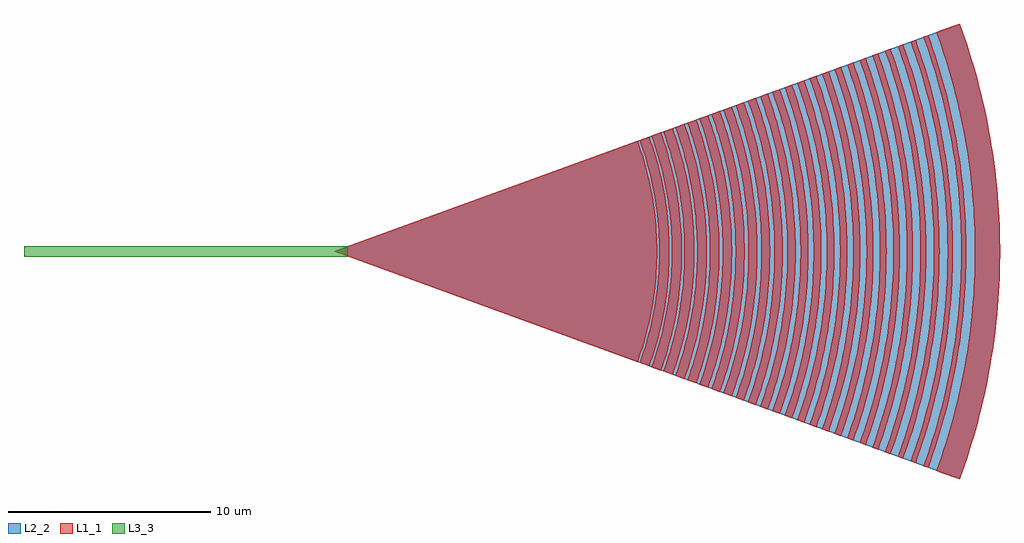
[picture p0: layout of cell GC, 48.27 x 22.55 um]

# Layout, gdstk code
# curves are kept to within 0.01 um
import gdstk
lib = gdstk.Library(unit=1e-6, precision=1e-09)
def R(c, l, rs):  # rectangles x0, y0, x1, y1
    for r in rs: c.add(gdstk.rectangle(r[:2], r[2:], *l))
def P(c, l, *ps):  # polygons
    for p in ps: c.add(gdstk.Polygon(p, *l))
L1_1 = (1, 1)
L2_2 = (2, 2)
L3_3 = (3, 3)

c_gc = lib.new_cell('GC')
P(c_gc, L1_1, [(3.313,0),(18.348,-5.472),(18.592,-4.751),(18.735,-4.264),(18.92,-3.525),(19.024,-3.028),(19.15,-2.277),(19.215,-1.773),(19.281,-1.015),(19.311,-0.254),(19.305,0.508),(19.281,1.015),(19.215,1.773),(19.112,2.528),(19.024,3.028),(18.92,3.525),(18.735,4.264),(18.592,4.751),(18.348,5.472)],
  [(18.924,-5.682),(19.093,-5.195),(19.317,-4.455),(19.507,-3.706),(19.662,-2.948),(19.781,-2.184),(19.865,-1.416),(19.901,-0.902),(19.925,-0.129),(19.921,0.387),(19.885,1.159),(19.813,1.929),(19.706,2.694),(19.563,3.454),(19.384,4.206),(19.171,4.949),(18.924,5.682),(18.445,5.508),(18.69,4.781),(18.834,4.291),(19.02,3.548),(19.171,2.796),(19.252,2.292),(19.343,1.531),(19.398,0.766),(19.416,0),(19.398,-0.766),(19.343,-1.531),(19.252,-2.292),(19.171,-2.796),(19.02,-3.548),(18.834,-4.291),(18.69,-4.781),(18.445,-5.508)],
  [(19.501,-5.892),(19.753,-5.149),(19.97,-4.395),(20.153,-3.633),(20.301,-2.863),(20.38,-2.346),(20.469,-1.567),(20.522,-0.784),(20.54,0),(20.522,0.784),(20.469,1.567),(20.38,2.346),(20.301,2.863),(20.153,3.633),(19.97,4.395),(19.753,5.149),(19.501,5.892),(19.032,5.721),(19.202,5.231),(19.428,4.486),(19.619,3.731),(19.775,2.969),(19.859,2.456),(19.956,1.684),(20.016,0.908),(20.04,0.13),(20.028,-0.649),(19.98,-1.426),(19.895,-2.199),(19.775,-2.969),(19.619,-3.731),(19.428,-4.486),(19.202,-5.231),(19.032,-5.721)],
  [(20.08,-6.103),(20.336,-5.35),(20.487,-4.842),(20.686,-4.072),(20.85,-3.294),(20.979,-2.51),(21.073,-1.72),(21.132,-0.927),(21.156,-0.133),(21.144,0.662),(21.097,1.456),(21.015,2.247),(20.897,3.033),(20.744,3.813),(20.557,4.586),(20.336,5.35),(20.08,6.103),(19.62,5.935),(19.874,5.187),(20.093,4.428),(20.277,3.66),(20.426,2.884),(20.539,2.102),(20.617,1.316),(20.659,0.527),(20.667,0),(20.659,-0.527),(20.617,-1.316),(20.539,-2.102),(20.426,-2.884),(20.277,-3.66),(20.093,-4.428),(19.874,-5.187),(19.62,-5.935)],
  [(20.662,-6.314),(20.926,-5.535),(21.155,-4.745),(21.349,-3.946),(21.458,-3.408),(21.592,-2.597),(21.689,-1.78),(21.75,-0.959),(21.775,-0.137),(21.762,0.685),(21.713,1.507),(21.628,2.325),(21.506,3.138),(21.349,3.946),(21.155,4.745),(20.926,5.535),(20.662,6.314),(20.211,6.15),(20.469,5.392),(20.692,4.622),(20.821,4.104),(20.987,3.32),(21.117,2.529),(21.212,1.734),(21.271,0.934),(21.295,0.134),(21.283,-0.668),(21.236,-1.467),(21.153,-2.264),(21.034,-3.057),(20.88,-3.843),(20.692,-4.622),(20.469,-5.392),(20.211,-6.15)],
  [(21.245,-6.527),(21.512,-5.738),(21.745,-4.939),(21.943,-4.13),(22.106,-3.314),(22.232,-2.491),(22.323,-1.663),(22.377,-0.832),(22.396,0),(22.377,0.832),(22.323,1.663),(22.232,2.491),(22.106,3.314),(21.943,4.13),(21.745,4.939),(21.512,5.738),(21.245,6.527),(20.804,6.366),(21.065,5.597),(21.292,4.818),(21.485,4.029),(21.644,3.232),(21.767,2.43),(21.856,1.622),(21.909,0.812),(21.927,0),(21.909,-0.812),(21.856,-1.622),(21.767,-2.43),(21.644,-3.232),(21.485,-4.029),(21.292,-4.818),(21.065,-5.597),(20.804,-6.366)],
  [(21.83,-6.74),(22.101,-5.942),(22.338,-5.134),(22.54,-4.316),(22.707,-3.491),(22.838,-2.659),(22.934,-1.822),(22.994,-0.982),(23.018,-0.14),(23.006,0.702),(22.958,1.543),(22.874,2.381),(22.707,3.491),(22.54,4.316),(22.338,5.134),(22.101,5.942),(21.83,6.74),(21.399,6.583),(21.669,5.788),(21.904,4.981),(22.104,4.166),(22.267,3.342),(22.395,2.512),(22.486,1.677),(22.541,0.84),(22.56,0),(22.541,-0.84),(22.486,-1.677),(22.395,-2.512),(22.267,-3.342),(22.104,-4.166),(21.904,-4.981),(21.669,-5.788),(21.399,-6.583)],
  [(22.417,-6.953),(22.691,-6.147),(22.932,-5.33),(23.138,-4.504),(23.309,-3.67),(23.483,-2.548),(23.572,-1.701),(23.625,-0.851),(23.643,0),(23.625,0.851),(23.572,1.701),(23.483,2.548),(23.309,3.67),(23.138,4.504),(22.932,5.33),(22.691,6.147),(22.417,6.953),(21.996,6.8),(22.269,5.995),(22.508,5.18),(22.712,4.355),(22.881,3.522),(23.013,2.683),(23.11,1.839),(23.17,0.991),(23.194,0.142),(23.182,-0.708),(23.11,-1.839),(23.013,-2.683),(22.881,-3.522),(22.712,-4.355),(22.508,-5.18),(22.269,-5.995),(21.996,-6.8)],
  [(23.006,-7.168),(23.284,-6.353),(23.528,-5.528),(23.738,-4.693),(23.964,-3.568),(24.093,-2.718),(24.187,-1.862),(24.246,-1.004),(24.269,-0.143),(24.258,0.717),(24.211,1.576),(24.093,2.718),(23.964,3.568),(23.738,4.693),(23.528,5.528),(23.284,6.353),(23.006,7.168),(22.595,7.018),(22.872,6.204),(23.115,5.38),(23.323,4.546),(23.545,3.422),(23.671,2.572),(23.76,1.717),(23.814,0.859),(23.832,0),(23.814,-0.859),(23.76,-1.717),(23.671,-2.572),(23.545,-3.422),(23.323,-4.546),(23.115,-5.38),(22.872,-6.204),(22.595,-7.018)],
  [(23.597,-7.383),(23.883,-6.544),(24.134,-5.694),(24.351,-4.834),(24.584,-3.676),(24.717,-2.799),(24.813,-1.918),(24.874,-1.034),(24.898,-0.148),(24.886,0.739),(24.838,1.624),(24.717,2.799),(24.584,3.676),(24.351,4.834),(24.134,5.694),(23.883,6.544),(23.597,7.383),(23.196,7.237),(23.476,6.414),(23.723,5.581),(23.935,4.739),(24.112,3.888),(24.254,3.031),(24.361,2.169),(24.448,1.013),(24.472,0.145),(24.46,-0.724),(24.412,-1.592),(24.294,-2.744),(24.163,-3.603),(23.998,-4.456),(23.723,-5.581),(23.476,-6.414),(23.196,-7.237)],
  [(24.19,-7.599),(24.479,-6.752),(24.734,-5.894),(24.954,-5.027),(25.193,-3.858),(25.368,-2.678),(25.458,-1.788),(25.512,-0.895),(25.53,0),(25.512,0.895),(25.458,1.788),(25.368,2.678),(25.193,3.858),(24.954,5.027),(24.734,5.894),(24.479,6.752),(24.19,7.599),(23.799,7.456),(24.083,6.625),(24.409,5.501),(24.613,4.647),(24.783,3.786),(24.918,2.918),(25.018,2.046),(25.097,0.878),(25.114,0),(25.097,-0.878),(25.018,-2.046),(24.918,-2.918),(24.783,-3.786),(24.613,-4.647),(24.409,-5.501),(24.083,-6.625),(23.799,-7.456)],
  [(24.785,-7.815),(25.167,-6.674),(25.414,-5.805),(25.626,-4.927),(25.803,-4.042),(25.985,-2.852),(26.08,-1.954),(26.139,-1.053),(26.163,-0.15),(26.151,0.752),(26.08,1.954),(25.985,2.852),(25.803,4.042),(25.626,4.927),(25.414,5.805),(25.167,6.674),(24.785,7.815),(24.405,7.677),(24.787,6.534),(25.032,5.664),(25.243,4.784),(25.417,3.898),(25.595,2.705),(25.686,1.806),(25.74,0.904),(25.758,0),(25.74,-0.904),(25.686,-1.806),(25.595,-2.705),(25.417,-3.898),(25.243,-4.784),(25.032,-5.664),(24.787,-6.534),(24.405,-7.677)],
  [(25.383,-8.033),(25.683,-7.154),(25.948,-6.265),(26.178,-5.366),(26.429,-4.154),(26.575,-3.238),(26.713,-2.008),(26.774,-1.082),(26.798,-0.155),(26.774,1.082),(26.713,2.008),(26.575,3.238),(26.429,4.154),(26.178,5.366),(25.948,6.265),(25.683,7.154),(25.383,8.033),(25.012,7.898),(25.308,7.034),(25.568,6.16),(25.862,4.979),(26.041,4.085),(26.185,3.184),(26.292,2.278),(26.365,1.368),(26.405,0.152),(26.393,-0.76),(26.345,-1.671),(26.225,-2.882),(26.093,-3.785),(25.862,-4.979),(25.647,-5.866),(25.308,-7.034),(25.012,-7.898)],
  [(25.982,-8.251),(26.285,-7.366),(26.635,-6.168),(26.856,-5.259),(27.043,-4.342),(27.193,-3.419),(27.338,-2.18),(27.419,-0.935),(27.437,0),(27.419,0.935),(27.338,2.18),(27.193,3.419),(27.043,4.342),(26.856,5.259),(26.635,6.168),(26.285,7.366),(25.982,8.251),(25.622,8.12),(26.012,6.956),(26.265,6.07),(26.483,5.176),(26.72,3.971),(26.894,2.756),(26.983,1.84),(27.036,0.921),(27.054,0),(27.036,-0.921),(26.983,-1.84),(26.894,-2.756),(26.72,-3.971),(26.483,-5.176),(26.265,-6.07),(26.012,-6.956),(25.622,-8.12)],
  [(26.583,-8.47),(26.889,-7.578),(27.243,-6.371),(27.536,-5.149),(27.714,-4.223),(27.857,-3.291),(27.965,-2.354),(28.052,-1.1),(28.076,-0.157),(28.064,0.786),(27.992,2.041),(27.897,2.979),(27.714,4.223),(27.536,5.149),(27.243,6.371),(26.889,7.578),(26.583,8.47),(26.234,8.343),(26.628,7.169),(26.884,6.276),(27.106,5.374),(27.348,4.159),(27.489,3.241),(27.595,2.319),(27.666,1.393),(27.705,0.155),(27.693,-0.774),(27.622,-2.01),(27.489,-3.241),(27.348,-4.159),(27.106,-5.374),(26.884,-6.276),(26.628,-7.169),(26.234,-8.343)],
  [(27.187,-8.689),(27.495,-7.791),(27.853,-6.576),(28.151,-5.344),(28.333,-4.412),(28.481,-3.473),(28.622,-2.214),(28.701,-0.95),(28.719,0),(28.701,0.95),(28.622,2.214),(28.481,3.473),(28.333,4.412),(28.151,5.344),(27.853,6.576),(27.495,7.791),(27.187,8.689),(26.849,8.566),(27.158,7.664),(27.516,6.444),(27.744,5.518),(27.936,4.584),(28.093,3.643),(28.246,2.381),(28.318,1.43),(28.359,0.159),(28.334,-1.112),(28.274,-2.064),(28.137,-3.328),(27.992,-4.271),(27.744,-5.518),(27.516,-6.444),(27.158,-7.664),(26.849,-8.566)],
  [(27.793,-8.91),(28.109,-7.988),(28.476,-6.742),(28.781,-5.48),(28.968,-4.524),(29.119,-3.561),(29.264,-2.27),(29.331,-1.299),(29.364,0),(29.331,1.299),(29.264,2.27),(29.119,3.561),(28.968,4.524),(28.781,5.48),(28.476,6.742),(28.109,7.988),(27.793,8.91),(27.465,8.791),(27.777,7.881),(28.139,6.652),(28.371,5.719),(28.625,4.463),(28.816,3.196),(28.917,2.24),(28.983,1.281),(29.015,0),(28.997,-0.961),(28.917,-2.24),(28.816,-3.196),(28.625,-4.463),(28.371,-5.719),(28.139,-6.652),(27.777,-7.881),(27.465,-8.791)],
  [(28.4,-9.131),(28.818,-7.892),(29.09,-6.949),(29.4,-5.679),(29.591,-4.716),(29.79,-3.424),(29.898,-2.449),(29.97,-1.471),(30.01,-0.163),(29.986,1.144),(29.926,2.123),(29.79,3.424),(29.591,4.716),(29.4,5.679),(29.09,6.949),(28.818,7.892),(28.4,9.131),(28.084,9.016),(28.399,8.1),(28.765,6.862),(29.071,5.607),(29.259,4.657),(29.413,3.701),(29.563,2.418),(29.65,1.13),(29.673,0.161),(29.65,-1.13),(29.563,-2.418),(29.413,-3.701),(29.259,-4.657),(29.071,-5.607),(28.765,-6.862),(28.399,-8.1),(28.084,-9.016)],
  [(29.011,-9.353),(29.332,-8.419),(29.707,-7.157),(29.948,-6.2),(30.215,-4.911),(30.42,-3.61),(30.563,-2.301),(30.642,-0.987),(30.66,0),(30.642,0.987),(30.563,2.301),(30.42,3.61),(30.215,4.911),(29.948,6.2),(29.707,7.157),(29.332,8.419),(29.011,9.353),(28.705,9.242),(29.028,8.303),(29.403,7.034),(29.717,5.748),(29.91,4.774),(30.112,3.466),(30.221,2.479),(30.294,1.489),(30.334,0.165),(30.31,-1.158),(30.221,-2.479),(30.112,-3.466),(29.91,-4.774),(29.717,-5.748),(29.403,-7.034),(29.028,-8.303),(28.705,-9.242)],
  [(29.623,-9.576),(29.952,-8.62),(30.336,-7.328),(30.657,-6.019),(30.915,-4.696),(31.109,-3.362),(31.212,-2.356),(31.279,-1.348),(31.311,0),(31.279,1.348),(31.212,2.356),(31.109,3.362),(30.915,4.696),(30.657,6.019),(30.336,7.328),(29.952,8.62),(29.623,9.576),(29.329,9.469),(29.754,8.206),(30.119,6.924),(30.421,5.626),(30.606,4.643),(30.756,3.655),(30.9,2.33),(30.98,1),(30.998,0),(30.98,-1),(30.9,-2.33),(30.756,-3.655),(30.606,-4.643),(30.421,-5.626),(30.119,-6.924),(29.754,-8.206),(29.329,-9.469)],
  [(30.238,-9.8),(30.671,-8.515),(30.956,-7.539),(31.282,-6.222),(31.545,-4.892),(31.745,-3.551),(31.853,-2.539),(31.925,-1.525),(31.965,-0.17),(31.941,1.186),(31.881,2.202),(31.745,3.551),(31.545,4.892),(31.282,6.222),(30.956,7.539),(30.671,8.515),(30.238,9.8),(29.955,9.697),(30.384,8.425),(30.666,7.459),(30.988,6.157),(31.189,5.171),(31.403,3.846),(31.553,2.513),(31.64,1.174),(31.664,0.168),(31.652,-0.839),(31.605,-1.844),(31.521,-2.847),(31.403,-3.846),(31.304,-4.51),(31.126,-5.5),(30.835,-6.81),(30.482,-8.105),(30.177,-9.064),(29.955,-9.697)],
  [(30.854,-10.024),(31.188,-9.057),(31.579,-7.75),(31.909,-6.427),(32.177,-5.089),(32.382,-3.741),(32.525,-2.385),(32.604,-1.023),(32.622,0),(32.604,1.023),(32.525,2.385),(32.382,3.741),(32.177,5.089),(31.909,6.427),(31.579,7.75),(31.188,9.057),(30.854,10.024),(30.583,9.925),(31.022,8.624),(31.219,7.966),(31.484,6.971),(31.782,5.63),(32.016,4.277),(32.15,3.255),(32.247,2.23),(32.308,1.202),(32.333,0.172),(32.321,-0.858),(32.272,-1.887),(32.187,-2.914),(32.016,-4.277),(31.782,-5.63),(31.484,-6.971),(31.219,-7.966),(31.022,-8.624),(30.583,-9.925)],
  [(31.474,-10.25),(31.92,-8.928),(32.214,-7.925),(32.552,-6.571),(32.826,-5.204),(33.036,-3.825),(33.182,-2.438),(33.249,-1.394),(33.281,0),(33.249,1.394),(33.182,2.438),(33.036,3.825),(32.826,5.204),(32.552,6.571),(32.214,7.925),(31.92,8.928),(31.474,10.25),(31.214,10.155),(31.443,9.503),(31.757,8.516),(32.123,7.183),(32.426,5.835),(32.666,4.474),(32.804,3.447),(32.906,2.416),(32.972,1.381),(33.005,0),(32.972,-1.381),(32.906,-2.416),(32.804,-3.447),(32.666,-4.474),(32.426,-5.835),(32.123,-7.183),(31.757,-8.516),(31.443,-9.503),(31.214,-10.155)],
  [(32.095,-10.476),(32.438,-9.482),(32.841,-8.139),(33.183,-6.779),(33.462,-5.405),(33.677,-4.02),(33.798,-2.975),(33.902,-1.577),(33.942,-0.175),(33.918,1.227),(33.83,2.626),(33.722,3.672),(33.522,5.06),(33.258,6.437),(32.932,7.8),(32.544,9.148),(32.095,10.476),(31.847,10.386),(32.293,9.069),(32.493,8.403),(32.764,7.397),(33.071,6.041),(33.317,4.673),(33.459,3.64),(33.567,2.603),(33.654,1.216),(33.678,0.174),(33.666,-0.869),(33.594,-2.257),(33.499,-3.295),(33.317,-4.673),(33.071,-6.041),(32.764,-7.397),(32.493,-8.403),(32.293,-9.069),(31.847,-10.386)],
  [(32.719,-10.703),(33.064,-9.704),(33.471,-8.354),(33.816,-6.988),(34.1,-5.607),(34.321,-4.216),(34.479,-2.815),(34.575,-1.409),(34.606,0),(34.575,1.409),(34.479,2.815),(34.321,4.216),(34.1,5.607),(33.816,6.988),(33.471,8.354),(33.064,9.704),(32.719,10.703),(32.483,10.617),(32.715,9.957),(33.034,8.959),(33.407,7.611),(33.72,6.249),(33.853,5.562),(34.023,4.528),(34.158,3.488),(34.259,2.444),(34.324,1.398),(34.355,0),(34.324,-1.398),(34.259,-2.444),(34.158,-3.488),(34.023,-4.528),(33.853,-5.562),(33.72,-6.249),(33.407,-7.611),(33.034,-8.959),(32.715,-9.957),(32.483,-10.617)],
  [(33.345,-10.931),(33.807,-9.568),(34.113,-8.532),(34.466,-7.137),(34.756,-5.727),(34.981,-4.305),(35.143,-2.875),(35.24,-1.439),(35.273,0),(35.24,1.439),(35.143,2.875),(34.981,4.305),(34.756,5.727),(34.466,7.137),(34.113,8.532),(33.807,9.568),(33.345,10.931),(33.121,10.849),(33.471,9.836),(33.684,9.155),(34.066,7.778),(34.385,6.385),(34.641,4.98),(34.791,3.919),(34.936,2.498),(35.002,1.428),(35.034,0),(35.002,-1.428),(34.936,-2.498),(34.791,-3.919),(34.641,-4.98),(34.385,-6.385),(34.066,-7.778),(33.684,-9.155),(33.471,-9.836),(33.121,-10.849)],
  [(34.285,-11.273),(34.754,-9.889),(35.162,-8.486),(35.506,-7.067),(35.788,-5.633),(36.006,-4.189),(36.127,-3.1),(36.232,-1.643),(36.272,-0.183),(36.248,1.278),(36.159,2.736),(36.006,4.189),(35.788,5.633),(35.506,7.067),(35.162,8.486),(34.754,9.889),(34.285,11.273),(33.345,10.931),(33.807,9.568),(34.113,8.532),(34.466,7.137),(34.756,5.727),(34.981,4.305),(35.143,2.875),(35.24,1.439),(35.273,0),(35.24,-1.439),(35.143,-2.875),(34.981,-4.305),(34.756,-5.727),(34.466,-7.137),(34.113,-8.532),(33.807,-9.568),(33.345,-10.931)])
P(c_gc, L2_2, [(3.313,0),(34.285,-11.273),(34.643,-10.237),(35.066,-8.839),(35.342,-7.779),(35.655,-6.352),(35.905,-4.912),(36.05,-3.826),(36.159,-2.736),(36.248,-1.278),(36.272,-0.183),(36.248,1.278),(36.159,2.736),(36.05,3.826),(35.905,4.912),(35.655,6.352),(35.342,7.779),(35.066,8.839),(34.643,10.237),(34.285,11.273)])
R(c_gc, L3_3, [(-12,-0.25,4,0.25)])

lib.write_gds('GC.gds')
